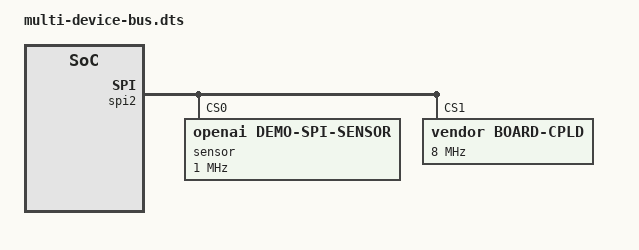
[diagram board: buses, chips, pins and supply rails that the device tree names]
/dts-v1/;
/plugin/;

/* Each target may use a different mode and maximum clock. */
&spi2 {
	status = "okay";
	#address-cells = <1>;
	#size-cells = <0>;

	sensor@0 {
		compatible = "openai,demo-spi-sensor";
		reg = <0>;
		spi-max-frequency = <1000000>;
	};

	board-cpld@1 {
		compatible = "vendor,board-cpld";
		reg = <1>;
		spi-max-frequency = <8000000>;
		spi-cpha; /* mode 1 */
	};
};

